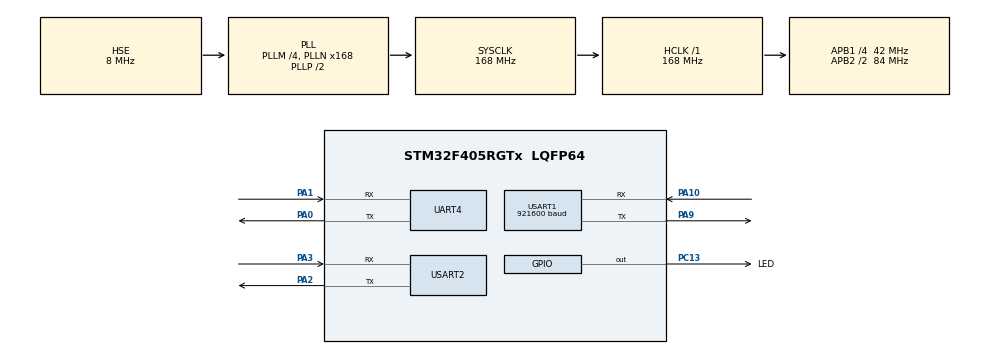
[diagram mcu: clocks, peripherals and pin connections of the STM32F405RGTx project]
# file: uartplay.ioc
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Dma.Request0=UART4_RX
Dma.UART4_RX.0.Direction=DMA_PERIPH_TO_MEMORY
Dma.UART4_RX.0.FIFOMode=DMA_FIFOMODE_DISABLE
Dma.UART4_RX.0.Instance=DMA1_Stream2
Dma.UART4_RX.0.MemDataAlignment=DMA_MDATAALIGN_BYTE
Dma.UART4_RX.0.MemInc=DMA_MINC_ENABLE
Dma.UART4_RX.0.Mode=DMA_CIRCULAR
Dma.UART4_RX.0.PeriphDataAlignment=DMA_PDATAALIGN_BYTE
Dma.UART4_RX.0.PeriphInc=DMA_PINC_DISABLE
Dma.UART4_RX.0.Priority=DMA_PRIORITY_HIGH
Mcu.Family=STM32F4
Mcu.Name=STM32F405RGTx
Mcu.Package=LQFP64
NVIC.DMA1_Stream2_IRQn=true\:0\:0\:true\:false\:true\:false\:true\:true
NVIC.PriorityGroup=NVIC_PRIORITYGROUP_4
NVIC.UART4_IRQn=true\:0\:0\:true\:false\:true\:true\:true\:true
NVIC.USART1_IRQn=true\:0\:0\:false\:false\:true\:true\:true\:true
NVIC.USART2_IRQn=true\:0\:0\:false\:false\:true\:true\:true\:true
PA0-WKUP.Mode=Asynchronous
PA0-WKUP.Signal=UART4_TX
PA1.Mode=Asynchronous
PA1.Signal=UART4_RX
PA10.Mode=Asynchronous
PA10.Signal=USART1_RX
PA13.Mode=Serial_Wire
PA13.Signal=SYS_JTMS-SWDIO
PA14.Mode=Serial_Wire
PA14.Signal=SYS_JTCK-SWCLK
PA2.Mode=Asynchronous
PA2.Signal=USART2_TX
PA3.Mode=Asynchronous
PA3.Signal=USART2_RX
PA9.Mode=Asynchronous
PA9.Signal=USART1_TX
PC13-ANTI_TAMP.GPIO_Label=LED
PC13-ANTI_TAMP.Signal=GPIO_Output
PH0-OSC_IN.Mode=HSE-External-Oscillator
PH0-OSC_IN.Signal=RCC_OSC_IN
PH1-OSC_OUT.Mode=HSE-External-Oscillator
PH1-OSC_OUT.Signal=RCC_OSC_OUT
ProjectManager.HeapSize=0x200
ProjectManager.StackSize=0x400
ProjectManager.TargetToolchain=STM32CubeIDE
RCC.48MHZClocksFreq_Value=84000000
RCC.AHBFreq_Value=168000000
RCC.APB1CLKDivider=RCC_HCLK_DIV4
RCC.APB1Freq_Value=42000000
RCC.APB1TimFreq_Value=84000000
RCC.APB2CLKDivider=RCC_HCLK_DIV2
RCC.APB2Freq_Value=84000000
RCC.APB2TimFreq_Value=168000000
RCC.CortexFreq_Value=168000000
RCC.HCLKFreq_Value=168000000
RCC.HSE_VALUE=8000000
RCC.HSI_VALUE=16000000
RCC.LSE_VALUE=32768
RCC.PLLM=4
RCC.PLLN=168
RCC.PLLSourceVirtual=RCC_PLLSOURCE_HSE
RCC.SYSCLKFreq_VALUE=168000000
RCC.SYSCLKSource=RCC_SYSCLKSOURCE_PLLCLK
RCC.VCOOutputFreq_Value=336000000
UART4.VirtualMode=Asynchronous
USART1.BaudRate=921600
USART1.VirtualMode=VM_ASYNC
USART2.VirtualMode=VM_ASYNC
board=custom

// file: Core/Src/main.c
/* USER CODE BEGIN Header */
/**
 ******************************************************************************
 * @file           : main.c
 * @brief          : Main program body
 ******************************************************************************
 * @attention
 *
 * Copyright (c) 2022 Lars Boegild Thomsen <lbthomsen@gmail.com>.
 * All rights reserved.
 *
 * This software is licensed under terms that can be found in the LICENSE file
 * in the root directory of this software component.
 * If no LICENSE file comes with this software, it is provided AS-IS.
 *
 ******************************************************************************
 */
/* USER CODE END Header */
#include "main.h"

/* USER CODE BEGIN Includes */
#include "stdio.h"
#include "string.h"
/* USER CODE END Includes */

/* USER CODE BEGIN PD */
#define DMA_BUFFER_SIZE 128 // size of buffer used by dma for uart receive
#define STRING_BUFFER_SIZE 256
/* USER CODE END PD */

UART_HandleTypeDef huart4;
UART_HandleTypeDef huart1;
UART_HandleTypeDef huart2;
DMA_HandleTypeDef hdma_uart4_rx;

/* USER CODE BEGIN PV */

uint8_t dmabuf[DMA_BUFFER_SIZE]; // dma buffer
char rxbuf[STRING_BUFFER_SIZE];  // rx string buffer

/* USER CODE END PV */

void SystemClock_Config(void);
static void MX_GPIO_Init(void);
static void MX_DMA_Init(void);
static void MX_UART4_Init(void);
static void MX_USART1_UART_Init(void);
static void MX_USART2_UART_Init(void);

/* USER CODE BEGIN 0 */

// Send printf to uart1
int _write(int fd, char *ptr, int len) {
	HAL_StatusTypeDef hstatus;

	if (fd == 1 || fd == 2) {
		hstatus = HAL_UART_Transmit(&huart1, (uint8_t*) ptr, len,
				HAL_MAX_DELAY);
		if (hstatus == HAL_OK)
			return len;
		else
			return -1;
	}
	return -1;
}

void rx_string_handler() {
	DBG("Received string: %s", rxbuf);
}

static inline void process_character(const char ch) { // We inline this one to avoid call overhead

	static uint32_t strlen = 0;

	switch (ch) {
	case '\r': // Ignore carriage returns
		break;
	case '\n': // Trigger on linefeed
		rx_string_handler();
		rxbuf[0] = '\0';
		strlen = 0;
		break;
	default:   // By default, just append the string
		if (strlen < STRING_BUFFER_SIZE) {
			strncat((char*) &rxbuf, &ch, 1); // Danger, Will Robinson!  Could go horribly wrong!
			++strlen;
		}
	}

}

/**
 * @brief  UART Event Callback.  Fired on idle or if dma buffer half full or full.
 * @param  huart  Pointer to a UART_HandleTypeDef structure that contains
 *                the configuration information for the specified UART module.
 * @param  offset A offset counter pointing to last valid character in DMA buffer.
 * @retval None
 */
void HAL_UARTEx_RxEventCallback(UART_HandleTypeDef *huart, uint16_t offset) {

	static uint16_t last_offset = 0;

	// Ignore if called twice (which will happen on every half buffer)
	if (offset != last_offset) {

		// If wrap around reset last_size
		if (offset < last_offset)
			last_offset = 0;

		while (last_offset < offset) {
			process_character((char) dmabuf[last_offset]);
			++last_offset;
		}

	}

}

void HAL_UART_ErrorCallback(UART_HandleTypeDef *huart) {
	DBG("HAL UART Error");
}

/* USER CODE END 0 */

int main(void)
{

  /* MCU Configuration--------------------------------------------------------*/

  /* Reset of all peripherals, Initializes the Flash interface and the Systick. */
  HAL_Init();

  /* Configure the system clock */
  SystemClock_Config();

  /* Initialize all configured peripherals */
  MX_GPIO_Init();
  MX_DMA_Init();
  MX_UART4_Init();
  MX_USART1_UART_Init();
  MX_USART2_UART_Init();
  /* USER CODE BEGIN 2 */

	DBG("\n\n----------------\nStarting...");

	HAL_UARTEx_ReceiveToIdle_DMA(&huart4, (uint8_t*) &dmabuf, DMA_BUFFER_SIZE);

  /* USER CODE END 2 */

  /* Infinite loop */
  /* USER CODE BEGIN WHILE */

	uint32_t now = 0, last_blink = 0, last_tx = 0, scnt = 0;
	char buf[128];

	while (1) {

		now = HAL_GetTick();

		if (now - last_blink >= 500) {

			HAL_GPIO_TogglePin(LED_GPIO_Port, LED_Pin);

			last_blink = now;
		}

		if (now - last_tx >= 5) {

			sprintf(buf, "String %lu transmitted at: %lu\n", scnt, now);

			HAL_UART_Transmit(&huart2, (uint8_t*) &buf, strlen(buf),
					HAL_MAX_DELAY);

			++scnt;
			last_tx = now;
		}

    /* USER CODE END WHILE */

	}
}

void SystemClock_Config(void)
{
  RCC_OscInitTypeDef RCC_OscInitStruct = {0};
  RCC_ClkInitTypeDef RCC_ClkInitStruct = {0};

  /** Configure the main internal regulator output voltage
  */
  __HAL_RCC_PWR_CLK_ENABLE();
  __HAL_PWR_VOLTAGESCALING_CONFIG(PWR_REGULATOR_VOLTAGE_SCALE1);

  /** Initializes the RCC Oscillators according to the specified parameters
  * in the RCC_OscInitTypeDef structure.
  */
  RCC_OscInitStruct.OscillatorType = RCC_OSCILLATORTYPE_HSE;
  RCC_OscInitStruct.HSEState = RCC_HSE_ON;
  RCC_OscInitStruct.PLL.PLLState = RCC_PLL_ON;
  RCC_OscInitStruct.PLL.PLLSource = RCC_PLLSOURCE_HSE;
  RCC_OscInitStruct.PLL.PLLM = 4;
  RCC_OscInitStruct.PLL.PLLN = 168;
  RCC_OscInitStruct.PLL.PLLP = RCC_PLLP_DIV2;
  RCC_OscInitStruct.PLL.PLLQ = 4;
  if (HAL_RCC_OscConfig(&RCC_OscInitStruct) != HAL_OK)
  {
    Error_Handler();
  }

  /** Initializes the CPU, AHB and APB buses clocks
  */
  RCC_ClkInitStruct.ClockType = RCC_CLOCKTYPE_HCLK|RCC_CLOCKTYPE_SYSCLK
                              |RCC_CLOCKTYPE_PCLK1|RCC_CLOCKTYPE_PCLK2;
  RCC_ClkInitStruct.SYSCLKSource = RCC_SYSCLKSOURCE_PLLCLK;
  RCC_ClkInitStruct.AHBCLKDivider = RCC_SYSCLK_DIV1;
  RCC_ClkInitStruct.APB1CLKDivider = RCC_HCLK_DIV4;
  RCC_ClkInitStruct.APB2CLKDivider = RCC_HCLK_DIV2;

  if (HAL_RCC_ClockConfig(&RCC_ClkInitStruct, FLASH_LATENCY_5) != HAL_OK)
  {
    Error_Handler();
  }
}

static void MX_UART4_Init(void)
{

  huart4.Instance = UART4;
  huart4.Init.BaudRate = 115200;
  huart4.Init.WordLength = UART_WORDLENGTH_8B;
  huart4.Init.StopBits = UART_STOPBITS_1;
  huart4.Init.Parity = UART_PARITY_NONE;
  huart4.Init.Mode = UART_MODE_TX_RX;
  huart4.Init.HwFlowCtl = UART_HWCONTROL_NONE;
  huart4.Init.OverSampling = UART_OVERSAMPLING_16;
  if (HAL_UART_Init(&huart4) != HAL_OK)
  {
    Error_Handler();
  }

}

static void MX_USART1_UART_Init(void)
{

  huart1.Instance = USART1;
  huart1.Init.BaudRate = 921600;
  huart1.Init.WordLength = UART_WORDLENGTH_8B;
  huart1.Init.StopBits = UART_STOPBITS_1;
  huart1.Init.Parity = UART_PARITY_NONE;
  huart1.Init.Mode = UART_MODE_TX_RX;
  huart1.Init.HwFlowCtl = UART_HWCONTROL_NONE;
  huart1.Init.OverSampling = UART_OVERSAMPLING_16;
  if (HAL_UART_Init(&huart1) != HAL_OK)
  {
    Error_Handler();
  }

}

static void MX_USART2_UART_Init(void)
{

  huart2.Instance = USART2;
  huart2.Init.BaudRate = 115200;
  huart2.Init.WordLength = UART_WORDLENGTH_8B;
  huart2.Init.StopBits = UART_STOPBITS_1;
  huart2.Init.Parity = UART_PARITY_NONE;
  huart2.Init.Mode = UART_MODE_TX_RX;
  huart2.Init.HwFlowCtl = UART_HWCONTROL_NONE;
  huart2.Init.OverSampling = UART_OVERSAMPLING_16;
  if (HAL_UART_Init(&huart2) != HAL_OK)
  {
    Error_Handler();
  }

}

static void MX_DMA_Init(void)
{

  /* DMA controller clock enable */
  __HAL_RCC_DMA1_CLK_ENABLE();

  /* DMA interrupt init */
  /* DMA1_Stream2_IRQn interrupt configuration */
  HAL_NVIC_SetPriority(DMA1_Stream2_IRQn, 0, 0);
  HAL_NVIC_EnableIRQ(DMA1_Stream2_IRQn);

}

static void MX_GPIO_Init(void)
{
  GPIO_InitTypeDef GPIO_InitStruct = {0};

  /* GPIO Ports Clock Enable */
  __HAL_RCC_GPIOC_CLK_ENABLE();
  __HAL_RCC_GPIOH_CLK_ENABLE();
  __HAL_RCC_GPIOA_CLK_ENABLE();

  /*Configure GPIO pin Output Level */
  HAL_GPIO_WritePin(LED_GPIO_Port, LED_Pin, GPIO_PIN_RESET);

  /*Configure GPIO pin : LED_Pin */
  GPIO_InitStruct.Pin = LED_Pin;
  GPIO_InitStruct.Mode = GPIO_MODE_OUTPUT_PP;
  GPIO_InitStruct.Pull = GPIO_NOPULL;
  GPIO_InitStruct.Speed = GPIO_SPEED_FREQ_LOW;
  HAL_GPIO_Init(LED_GPIO_Port, &GPIO_InitStruct);

}

void Error_Handler(void)
{
	__disable_irq();
	while (1) {
	}
}
